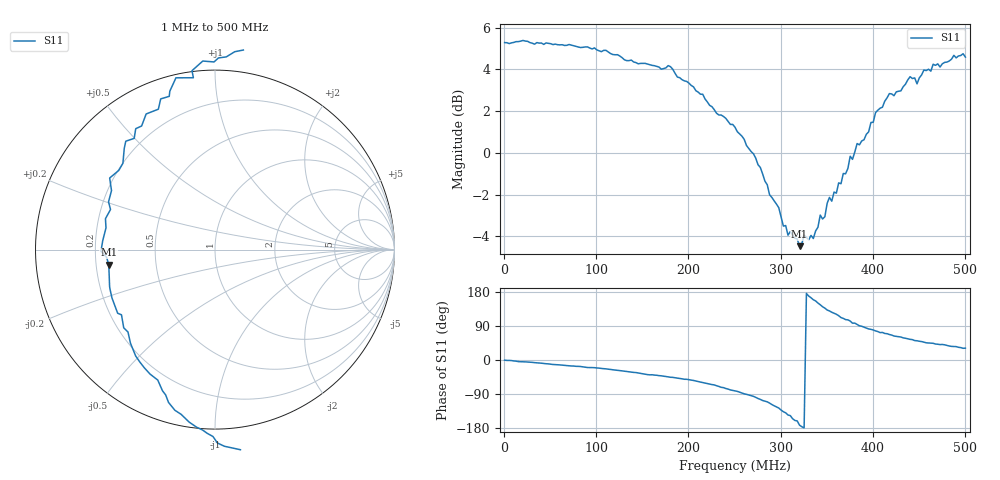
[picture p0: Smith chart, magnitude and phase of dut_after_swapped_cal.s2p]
! PocketVna 1.54  pocketvna.com
! Live measurements ((Reflection-S11) Linear 1000000-500000000/201 calibrated)
# MHz S DB R 50
! MHz  dBS11  <S11  dBS21  <S21  dBS12  <S12  dBS22  <S22
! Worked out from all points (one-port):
!   201 points, 1 MHz to 500 MHz, reference 50 ohm
!   lowest |S11| = -4.5 dB at 320.4 MHz (marker M1), VSWR 3.97, Z = 12.6 - j3.32 ohm
!   |S11| at or under -10 dB: nowhere
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1  5.28 -0.4  -200.00 0.0  -200.00 0.0  -200.00 0.0
85.83  5.06 -18.1  -200.00 0.0  -200.00 0.0  -200.00 0.0
110.78  4.91 -23.4  -200.00 0.0  -200.00 0.0  -200.00 0.0
168.165  4.11 -41.2  -200.00 0.0  -200.00 0.0  -200.00 0.0
180.64  4.13 -45.6  -200.00 0.0  -200.00 0.0  -200.00 0.0
203.095  3.23 -52.7  -200.00 0.0  -200.00 0.0  -200.00 0.0
250.5  1.23 -81.7  -200.00 0.0  -200.00 0.0  -200.00 0.0
270.46  -0.04 -95.9  -200.00 0.0  -200.00 0.0  -200.00 0.0
285.43  -1.53 -110.4  -200.00 0.0  -200.00 0.0  -200.00 0.0
317.865  -4.12 -160.7  -200.00 0.0  -200.00 0.0  -200.00 0.0
320.36  -4.47 -171.9  -200.00 0.0  -200.00 0.0  -200.00 0.0
335.33  -4.10 159.0  -200.00 0.0  -200.00 0.0  -200.00 0.0
352.795  -2.13 129.5  -200.00 0.0  -200.00 0.0  -200.00 0.0
375.25  -0.16 102.8  -200.00 0.0  -200.00 0.0  -200.00 0.0
377.745  -0.31 97.2  -200.00 0.0  -200.00 0.0  -200.00 0.0
402.695  1.93 76.8  -200.00 0.0  -200.00 0.0  -200.00 0.0
417.665  2.84 67.3  -200.00 0.0  -200.00 0.0  -200.00 0.0
440.12  3.65 54.5  -200.00 0.0  -200.00 0.0  -200.00 0.0
457.585  3.95 45.4  -200.00 0.0  -200.00 0.0  -200.00 0.0
465.07  4.25 44.1  -200.00 0.0  -200.00 0.0  -200.00 0.0
497.505  4.75 30.9  -200.00 0.0  -200.00 0.0  -200.00 0.0
500  4.59 31.3  -200.00 0.0  -200.00 0.0  -200.00 0.0
